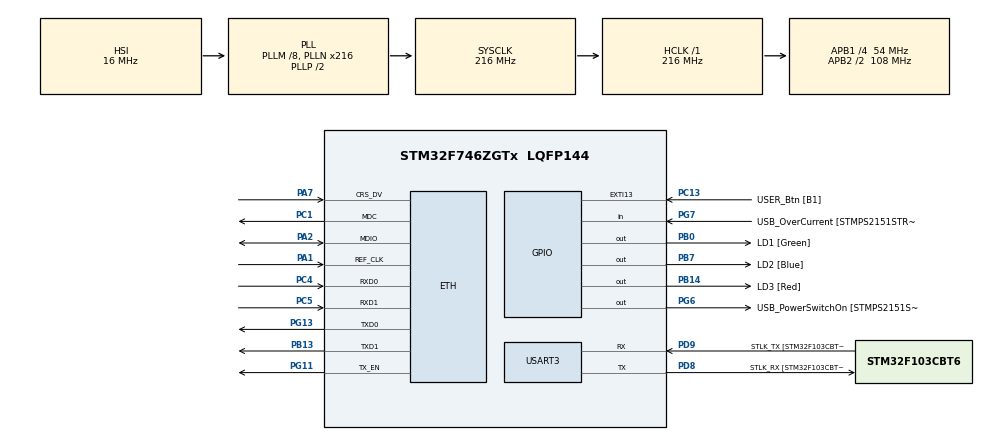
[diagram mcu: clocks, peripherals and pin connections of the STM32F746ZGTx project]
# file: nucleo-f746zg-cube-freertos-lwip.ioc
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Cesanta.I-CUBE-Mongoose.7.9.5.MG_ARCH=MG_ARCH_FREERTOS
Cesanta.I-CUBE-Mongoose.7.9.5.MG_ENABLE_CUSTOM_MILLIS=false
Cesanta.I-CUBE-Mongoose.7.9.5.MG_ENABLE_CUSTOM_RANDOM=true
Cesanta.I-CUBE-Mongoose.7.9.5.MG_ENABLE_MBEDTLS=false
Cesanta.I-CUBE-Mongoose.7.9.5.MG_STMPACK_NET=1
Cesanta.I-CUBE-Mongoose.7.9.5.NetworkOoLibraryJjMongoose=true
ETH.MediaInterface=HAL_ETH_RMII_MODE
FREERTOS.INCLUDE_vTaskCleanUpResources=0
FREERTOS.Tasks01=defaultTask,0,256,StartDefaultTask,Default,NULL,Dynamic,NULL,NULL;Blinker,-2,128,blinker,Default,NULL,Dynamic,NULL,NULL
FREERTOS.configMINIMAL_STACK_SIZE=128
FREERTOS.configTOTAL_HEAP_SIZE=65536
FREERTOS.configUSE_NEWLIB_REENTRANT=1
LWIP.BSP.number=1
LWIP.Version=v2.1.2_Cube
LWIP0.BSP.STBoard=false
LWIP0.BSP.api=BSP_COMPONENT_DRIVER
LWIP0.BSP.component=LAN8742
LWIP0.BSP.instance=LAN8742
LWIP0.BSP.name=Driver_PHY
LWIP0.BSP.semaphore=S_LAN8742
LWIP0.BSP.solution=LAN8742
Mcu.Family=STM32F7
Mcu.Name=STM32F746ZGTx
Mcu.Package=LQFP144
NVIC.ETH_IRQn=true\:5\:0\:false\:false\:true\:true\:false\:true\:true
NVIC.PriorityGroup=NVIC_PRIORITYGROUP_4
NVIC.TIM6_DAC_IRQn=true\:15\:0\:false\:false\:true\:false\:false\:true\:true
NVIC.TimeBase=TIM6_DAC_IRQn
NVIC.TimeBaseIP=TIM6
PA1.GPIO_Mode=GPIO_MODE_AF_PP
PA1.GPIO_PuPd=GPIO_NOPULL
PA1.GPIO_Speed=GPIO_SPEED_FREQ_VERY_HIGH
PA1.Mode=RMII
PA1.Signal=ETH_REF_CLK
PA10.GPIO_Label=USB_ID
PA10.Signal=USB_OTG_FS_ID
PA11.GPIO_Label=USB_DM
PA11.Signal=USB_OTG_FS_DM
PA12.GPIO_Label=USB_DP
PA12.Signal=USB_OTG_FS_DP
PA13.GPIO_Label=TMS
PA13.Signal=SYS_JTMS-SWDIO
PA14.GPIO_Label=TCK
PA14.Signal=SYS_JTCK-SWCLK
PA2.GPIO_Mode=GPIO_MODE_AF_PP
PA2.GPIO_PuPd=GPIO_NOPULL
PA2.GPIO_Speed=GPIO_SPEED_FREQ_VERY_HIGH
PA2.Mode=RMII
PA2.Signal=ETH_MDIO
PA7.GPIO_Mode=GPIO_MODE_AF_PP
PA7.GPIO_PuPd=GPIO_NOPULL
PA7.GPIO_Speed=GPIO_SPEED_FREQ_VERY_HIGH
PA7.Mode=RMII
PA7.Signal=ETH_CRS_DV
PA8.GPIO_Label=USB_SOF [TP1]
PA8.Signal=USB_OTG_FS_SOF
PA9.GPIO_Label=USB_VBUS
PA9.Signal=USB_OTG_FS_VBUS
PB0.GPIO_Label=LD1 [Green]
PB0.Signal=GPIO_Output
PB13.GPIO_Mode=GPIO_MODE_AF_PP
PB13.GPIO_PuPd=GPIO_NOPULL
PB13.GPIO_Speed=GPIO_SPEED_FREQ_VERY_HIGH
PB13.Mode=RMII
PB13.Signal=ETH_TXD1
PB14.GPIO_Label=LD3 [Red]
PB14.Signal=GPIO_Output
PB3.GPIO_Label=SW0
PB3.Signal=SYS_JTDO-SWO
PB7.GPIO_Label=LD2 [Blue]
PB7.Signal=GPIO_Output
PC1.GPIO_Mode=GPIO_MODE_AF_PP
PC1.GPIO_PuPd=GPIO_NOPULL
PC1.GPIO_Speed=GPIO_SPEED_FREQ_VERY_HIGH
PC1.Mode=RMII
PC1.Signal=ETH_MDC
PC13.GPIO_Label=USER_Btn [B1]
PC13.Signal=GPXTI13
PC14/OSC32_IN.Signal=RCC_OSC32_IN
PC15/OSC32_OUT.Signal=RCC_OSC32_OUT
PC4.GPIO_Mode=GPIO_MODE_AF_PP
PC4.GPIO_PuPd=GPIO_NOPULL
PC4.GPIO_Speed=GPIO_SPEED_FREQ_VERY_HIGH
PC4.Mode=RMII
PC4.Signal=ETH_RXD0
PC5.GPIO_Mode=GPIO_MODE_AF_PP
PC5.GPIO_PuPd=GPIO_NOPULL
PC5.GPIO_Speed=GPIO_SPEED_FREQ_VERY_HIGH
PC5.Mode=RMII
PC5.Signal=ETH_RXD1
PD8.GPIO_Label=STLK_RX [STM32F103CBT6_PA3]
PD8.Mode=Asynchronous
PD8.Signal=USART3_TX
PD9.GPIO_Label=STLK_TX [STM32F103CBT6_PA2]
PD9.Mode=Asynchronous
PD9.Signal=USART3_RX
PG11.GPIO_Mode=GPIO_MODE_AF_PP
PG11.GPIO_PuPd=GPIO_NOPULL
PG11.GPIO_Speed=GPIO_SPEED_FREQ_VERY_HIGH
PG11.Mode=RMII
PG11.Signal=ETH_TX_EN
PG13.GPIO_Mode=GPIO_MODE_AF_PP
PG13.GPIO_PuPd=GPIO_NOPULL
PG13.GPIO_Speed=GPIO_SPEED_FREQ_VERY_HIGH
PG13.Mode=RMII
PG13.Signal=ETH_TXD0
PG6.GPIO_Label=USB_PowerSwitchOn [STMPS2151STR_EN]
PG6.Signal=GPIO_Output
PG7.GPIO_Label=USB_OverCurrent [STMPS2151STR_FAULT]
PG7.Signal=GPIO_Input
PH0/OSC_IN.GPIO_Label=MCO [STM32F103CBT6_PA8]
PH0/OSC_IN.Signal=RCC_OSC_IN
PH1/OSC_OUT.Signal=RCC_OSC_OUT
ProjectManager.HeapSize=0x200
ProjectManager.StackSize=0x400
ProjectManager.TargetToolchain=STM32CubeIDE
RCC.48MHZClocksFreq_Value=24000000
RCC.AHBFreq_Value=216000000
RCC.APB1CLKDivider=RCC_HCLK_DIV4
RCC.APB1Freq_Value=54000000
RCC.APB1TimFreq_Value=108000000
RCC.APB2CLKDivider=RCC_HCLK_DIV2
RCC.APB2Freq_Value=108000000
RCC.APB2TimFreq_Value=216000000
RCC.CortexFreq_Value=216000000
RCC.HCLKFreq_Value=216000000
RCC.HSE_VALUE=8000000
RCC.HSI_VALUE=16000000
RCC.LSE_VALUE=32768
RCC.PLLM=8
RCC.PLLMUL=RCC_PLL_MUL9
RCC.PLLN=216
RCC.PLLQ=9
RCC.PRESCALERUSB=RCC_USBCLKSOURCE_PLL_DIV1_5
RCC.SYSCLKFreq_VALUE=216000000
RCC.SYSCLKSource=RCC_SYSCLKSOURCE_PLLCLK
RCC.SYSCLKSourceVirtual=RCC_SYSCLKSOURCE_PLLCLK
RCC.USBFreq_Value=48000000
RCC.VCOOutputFreq_Value=432000000
USART3.VirtualMode-Asynchronous=VM_ASYNC
VP_Cesanta.I-CUBE-Mongoose_VS_NetworkOoLibraryJjMongoose_7.9.5_7.9.5.Mode=NetworkOoLibraryJjMongoose
VP_FREERTOS_VS_CMSIS_V1.Mode=CMSIS_V1
VP_LWIP_VS_Enabled.Mode=Enabled
VP_RNG_VS_RNG.Mode=RNG_Activate
VP_SYS_VS_tim6.Mode=TIM6
board=NUCLEO-F746ZG

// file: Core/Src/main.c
/* USER CODE BEGIN Header */
/**
  ******************************************************************************
  * @file           : main.c
  * @brief          : Main program body
  ******************************************************************************
  * @attention
  *
  * Copyright (c) 2023 STMicroelectronics.
  * All rights reserved.
  *
  * This software is licensed under terms that can be found in the LICENSE file
  * in the root directory of this software component.
  * If no LICENSE file comes with this software, it is provided AS-IS.
  *
  ******************************************************************************
  */
/* USER CODE END Header */
#include "main.h"
#include "cmsis_os.h"
#include "lwip.h"

/* USER CODE BEGIN Includes */
#include "hal.h"
#include "mongoose.h"

/* USER CODE END Includes */

/* USER CODE BEGIN PD */
#define BLINK_PERIOD_MS 1000  // LED blinking period in millis

/* USER CODE END PD */

RNG_HandleTypeDef hrng;

UART_HandleTypeDef huart3;

osThreadId defaultTaskHandle;
osThreadId BlinkerHandle;

void SystemClock_Config(void);
static void MX_GPIO_Init(void);
static void MX_RNG_Init(void);
static void MX_USART3_UART_Init(void);
void StartDefaultTask(void const * argument);
void blinker(void const * argument);

/* USER CODE BEGIN 0 */
void mg_random(void *buf, size_t len) {  // Use on-board RNG
  extern RNG_HandleTypeDef hrng;
  for (size_t n = 0; n < len; n += sizeof(uint32_t)) {
    uint32_t r;
    HAL_RNG_GenerateRandomNumber(&hrng, &r);
    memcpy((char *) buf + n, &r, n + sizeof(r) > len ? len - n : sizeof(r));
  }
}

/* USER CODE END 0 */

int main(void)
{

  /* MCU Configuration--------------------------------------------------------*/

  /* Reset of all peripherals, Initializes the Flash interface and the Systick. */
  HAL_Init();

  /* Configure the system clock */
  SystemClock_Config();

  /* Initialize all configured peripherals */
  MX_GPIO_Init();
  MX_RNG_Init();
  MX_USART3_UART_Init();

  /* Create the thread(s) */
  /* definition and creation of defaultTask */
  osThreadDef(defaultTask, StartDefaultTask, osPriorityNormal, 0, 256);
  defaultTaskHandle = osThreadCreate(osThread(defaultTask), NULL);

  /* definition and creation of Blinker */
  osThreadDef(Blinker, blinker, osPriorityNormal, 0, 128);
  BlinkerHandle = osThreadCreate(osThread(Blinker), NULL);

  /* Start scheduler */
  osKernelStart();
  /* We should never get here as control is now taken by the scheduler */
  /* Infinite loop */
  while (1)
  {

  }
}

void SystemClock_Config(void)
{
  RCC_OscInitTypeDef RCC_OscInitStruct = {0};
  RCC_ClkInitTypeDef RCC_ClkInitStruct = {0};

  /** Configure the main internal regulator output voltage
  */
  __HAL_RCC_PWR_CLK_ENABLE();
  __HAL_PWR_VOLTAGESCALING_CONFIG(PWR_REGULATOR_VOLTAGE_SCALE1);

  /** Initializes the RCC Oscillators according to the specified parameters
  * in the RCC_OscInitTypeDef structure.
  */
  RCC_OscInitStruct.OscillatorType = RCC_OSCILLATORTYPE_HSI;
  RCC_OscInitStruct.HSIState = RCC_HSI_ON;
  RCC_OscInitStruct.HSICalibrationValue = RCC_HSICALIBRATION_DEFAULT;
  RCC_OscInitStruct.PLL.PLLState = RCC_PLL_ON;
  RCC_OscInitStruct.PLL.PLLSource = RCC_PLLSOURCE_HSI;
  RCC_OscInitStruct.PLL.PLLM = 8;
  RCC_OscInitStruct.PLL.PLLN = 216;
  RCC_OscInitStruct.PLL.PLLP = RCC_PLLP_DIV2;
  RCC_OscInitStruct.PLL.PLLQ = 9;
  if (HAL_RCC_OscConfig(&RCC_OscInitStruct) != HAL_OK)
  {
    Error_Handler();
  }

  /** Activate the Over-Drive mode
  */
  if (HAL_PWREx_EnableOverDrive() != HAL_OK)
  {
    Error_Handler();
  }

  /** Initializes the CPU, AHB and APB buses clocks
  */
  RCC_ClkInitStruct.ClockType = RCC_CLOCKTYPE_HCLK|RCC_CLOCKTYPE_SYSCLK
                              |RCC_CLOCKTYPE_PCLK1|RCC_CLOCKTYPE_PCLK2;
  RCC_ClkInitStruct.SYSCLKSource = RCC_SYSCLKSOURCE_PLLCLK;
  RCC_ClkInitStruct.AHBCLKDivider = RCC_SYSCLK_DIV1;
  RCC_ClkInitStruct.APB1CLKDivider = RCC_HCLK_DIV4;
  RCC_ClkInitStruct.APB2CLKDivider = RCC_HCLK_DIV2;

  if (HAL_RCC_ClockConfig(&RCC_ClkInitStruct, FLASH_LATENCY_7) != HAL_OK)
  {
    Error_Handler();
  }
}

static void MX_RNG_Init(void)
{

  hrng.Instance = RNG;
  if (HAL_RNG_Init(&hrng) != HAL_OK)
  {
    Error_Handler();
  }

}

static void MX_USART3_UART_Init(void)
{

  huart3.Instance = USART3;
  huart3.Init.BaudRate = 115200;
  huart3.Init.WordLength = UART_WORDLENGTH_8B;
  huart3.Init.StopBits = UART_STOPBITS_1;
  huart3.Init.Parity = UART_PARITY_NONE;
  huart3.Init.Mode = UART_MODE_TX_RX;
  huart3.Init.HwFlowCtl = UART_HWCONTROL_NONE;
  huart3.Init.OverSampling = UART_OVERSAMPLING_16;
  huart3.Init.OneBitSampling = UART_ONE_BIT_SAMPLE_DISABLE;
  huart3.AdvancedInit.AdvFeatureInit = UART_ADVFEATURE_NO_INIT;
  if (HAL_UART_Init(&huart3) != HAL_OK)
  {
    Error_Handler();
  }

}

static void MX_GPIO_Init(void)
{
  GPIO_InitTypeDef GPIO_InitStruct = {0};

  /* GPIO Ports Clock Enable */
  __HAL_RCC_GPIOC_CLK_ENABLE();
  __HAL_RCC_GPIOH_CLK_ENABLE();
  __HAL_RCC_GPIOA_CLK_ENABLE();
  __HAL_RCC_GPIOB_CLK_ENABLE();
  __HAL_RCC_GPIOD_CLK_ENABLE();
  __HAL_RCC_GPIOG_CLK_ENABLE();

  /*Configure GPIO pin Output Level */
  HAL_GPIO_WritePin(GPIOB, LD1_Pin|LD3_Pin|LD2_Pin, GPIO_PIN_RESET);

  /*Configure GPIO pin Output Level */
  HAL_GPIO_WritePin(USB_PowerSwitchOn_GPIO_Port, USB_PowerSwitchOn_Pin, GPIO_PIN_RESET);

  /*Configure GPIO pin : USER_Btn_Pin */
  GPIO_InitStruct.Pin = USER_Btn_Pin;
  GPIO_InitStruct.Mode = GPIO_MODE_IT_RISING;
  GPIO_InitStruct.Pull = GPIO_NOPULL;
  HAL_GPIO_Init(USER_Btn_GPIO_Port, &GPIO_InitStruct);

  /*Configure GPIO pins : LD1_Pin LD3_Pin LD2_Pin */
  GPIO_InitStruct.Pin = LD1_Pin|LD3_Pin|LD2_Pin;
  GPIO_InitStruct.Mode = GPIO_MODE_OUTPUT_PP;
  GPIO_InitStruct.Pull = GPIO_NOPULL;
  GPIO_InitStruct.Speed = GPIO_SPEED_FREQ_LOW;
  HAL_GPIO_Init(GPIOB, &GPIO_InitStruct);

  /*Configure GPIO pin : USB_PowerSwitchOn_Pin */
  GPIO_InitStruct.Pin = USB_PowerSwitchOn_Pin;
  GPIO_InitStruct.Mode = GPIO_MODE_OUTPUT_PP;
  GPIO_InitStruct.Pull = GPIO_NOPULL;
  GPIO_InitStruct.Speed = GPIO_SPEED_FREQ_LOW;
  HAL_GPIO_Init(USB_PowerSwitchOn_GPIO_Port, &GPIO_InitStruct);

  /*Configure GPIO pin : USB_OverCurrent_Pin */
  GPIO_InitStruct.Pin = USB_OverCurrent_Pin;
  GPIO_InitStruct.Mode = GPIO_MODE_INPUT;
  GPIO_InitStruct.Pull = GPIO_NOPULL;
  HAL_GPIO_Init(USB_OverCurrent_GPIO_Port, &GPIO_InitStruct);

  /*Configure GPIO pins : USB_SOF_Pin USB_ID_Pin USB_DM_Pin USB_DP_Pin */
  GPIO_InitStruct.Pin = USB_SOF_Pin|USB_ID_Pin|USB_DM_Pin|USB_DP_Pin;
  GPIO_InitStruct.Mode = GPIO_MODE_AF_PP;
  GPIO_InitStruct.Pull = GPIO_NOPULL;
  GPIO_InitStruct.Speed = GPIO_SPEED_FREQ_VERY_HIGH;
  GPIO_InitStruct.Alternate = GPIO_AF10_OTG_FS;
  HAL_GPIO_Init(GPIOA, &GPIO_InitStruct);

  /*Configure GPIO pin : USB_VBUS_Pin */
  GPIO_InitStruct.Pin = USB_VBUS_Pin;
  GPIO_InitStruct.Mode = GPIO_MODE_INPUT;
  GPIO_InitStruct.Pull = GPIO_NOPULL;
  HAL_GPIO_Init(USB_VBUS_GPIO_Port, &GPIO_InitStruct);

}

/* USER CODE BEGIN 4 */
static void server(void const *args) {
  struct mg_mgr mgr;        // Initialise Mongoose event manager
  mg_mgr_init(&mgr);        // and attach it to the interface
  mg_log_set(MG_LL_DEBUG);  // Set log level

  MG_INFO(("Initialising application..."));
  extern void device_dashboard_fn(struct mg_connection *, int, void *, void *);
  mg_http_listen(&mgr, "http://0.0.0.0", device_dashboard_fn, NULL);

  MG_INFO(("Starting event loop"));
  for (;;) mg_mgr_poll(&mgr, 1000);  // Infinite event loop
  (void) args;
}

osThreadDef(Server, server, osPriorityNormal, 1, 8192); // Create the server thread with a stack size of 8KB

/* USER CODE END 4 */

void StartDefaultTask(void const * argument)
{
  /* init code for LWIP */
  MX_LWIP_Init();
  /* USER CODE BEGIN 5 */
  MG_INFO(("Waiting for IP..."));
  extern struct netif gnetif;
  while(ip4_addr_isany_val(*netif_ip4_addr(&gnetif)))
	  osDelay(200); // CMSIS-RTOS v1 uses milliseconds
  MG_INFO(("READY, IP: %s", ip4addr_ntoa(netif_ip4_addr(&gnetif))));

  osThreadCreate(osThread(Server), NULL);  // Create the server thread
  osThreadTerminate(osThreadGetId());
 (void) argument;

  /* USER CODE END 5 */
}

void blinker(void const * argument)
{
  /* USER CODE BEGIN blinker */
  /* Infinite loop */
	for (;;) {
	    HAL_GPIO_TogglePin(GPIOB, GPIO_PIN_7);   // Blink On-board blue LED
	    osDelay(BLINK_PERIOD_MS); // CMSIS-RTOS v1 uses milliseconds
	}
	(void) argument;
  /* USER CODE END blinker */
}

void HAL_TIM_PeriodElapsedCallback(TIM_HandleTypeDef *htim)
{
  if (htim->Instance == TIM6) {
    HAL_IncTick();
  }
}

void Error_Handler(void)
{
  __disable_irq();
  while (1)
  {
  }
}
